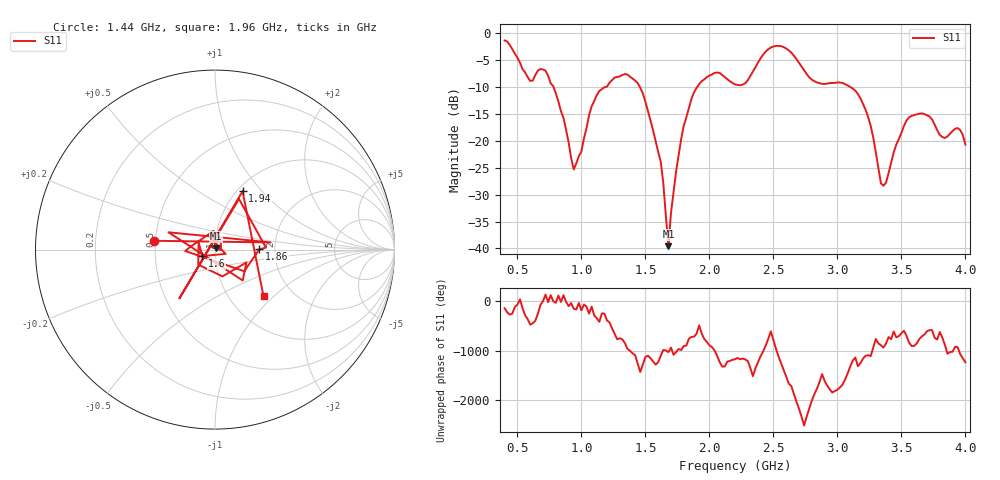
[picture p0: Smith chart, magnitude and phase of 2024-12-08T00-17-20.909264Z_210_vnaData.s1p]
!Created with skrf (http://scikit-rf.org).
# Hz S RI R 50.0
!freq ReS11 ImS11
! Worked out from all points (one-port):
!   181 points, 400 MHz to 4 GHz, reference 50 ohm
!   lowest |S11| = -39.6 dB at 1.68 GHz (marker M1), VSWR 1.02, Z = 50.7 + j0.815 ohm
!   |S11| at or under -10 dB: 782.8 MHz to 1.181 GHz (398.6 MHz wide, 40.6 % of centre); 1.458 GHz to 1.903 GHz (445.8 MHz wide, 26.5 % of centre); 3.103 GHz to end of sweep
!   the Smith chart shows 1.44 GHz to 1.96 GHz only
!   S11 on the Smith chart (normalised r, x): 1.44 GHz: 0.49, +0.05; 1.6 GHz: 0.87, -0.06; 1.86 GHz: 1.65, +0.01; 1.94 GHz: 1.06, +0.79; 1.96 GHz: 1.43, -0.86
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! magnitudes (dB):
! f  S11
! 400 MHz  -1.3
! 600 MHz  -8.8
! 720 MHz  -6.9
! 860 MHz  -15.7
! 940 MHz  -25.3
! 1.12 GHz  -11.5
! 1.3 GHz  -8.0
! 1.44 GHz  -9.2
! 1.6 GHz  -22.1
! 1.64 GHz  -27.9
! 1.68 GHz  -39.6
! 1.7 GHz  -33.4
! 1.76 GHz  -22.6
! 1.86 GHz  -12.2
! 1.94 GHz  -8.9
! 1.96 GHz  -8.5
! 2.2 GHz  -9.5
! 2.48 GHz  -2.6
! 2.66 GHz  -4.1
! 2.82 GHz  -8.9
! 3.1 GHz  -10.0
! 3.24 GHz  -15.5
! 3.36 GHz  -28.3
! 3.56 GHz  -15.6
! 3.72 GHz  -15.5
! 3.84 GHz  -19.5
! 3.94 GHz  -17.6
! 4 GHz  -20.7
